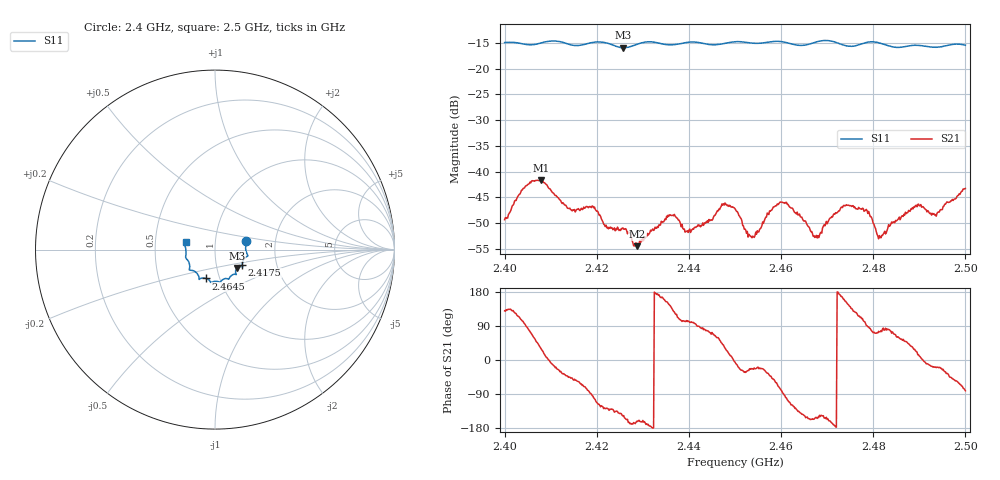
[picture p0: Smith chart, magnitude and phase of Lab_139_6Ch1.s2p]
# Hz S RI R 50
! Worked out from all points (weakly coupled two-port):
!   601 points, 2.4 GHz to 2.5 GHz, reference 50 ohm
!   highest |S21| = -41.69 dB at 2.4078 GHz (marker M1); lowest = -54.5 dB at 2.4288 GHz (marker M2)
!   lowest |S11| = -15.9 dB at 2.4257 GHz (marker M3), VSWR 1.38, Z = 62.5 - j13.1 ohm
!   |S11| at or under -10 dB: start of sweep to end of sweep
!   S12 and S22 are empty: the file has one direction only
!   S11 on the Smith chart (normalised r, x): 2.4 GHz: 1.41, +0.14; 2.4175 GHz: 1.34, -0.23; 2.4645 GHz: 0.86, -0.28; 2.5 GHz: 0.72, +0.06
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2.4e9  0.1729 0.0491  -0.00218 0.00261  0 0  0 0
2.404167e9  0.1722 0.0234  -0.000982 0.00681  0 0  0 0
2.407833e9  0.1766 -0.0193  0.00706 0.00423  0 0  0 0
2.416667e9  0.1529 -0.0739  0.00198 -0.00392  0 0  0 0
2.4175e9  0.1518 -0.0833  0.00143 -0.0042  0 0  0 0
2.425667e9  0.1229 -0.1021  -0.00239 -0.00152  0 0  0 0
2.428833e9  0.1151 -0.13  -0.00179 -0.000567  0 0  0 0
2.433333e9  0.1131 -0.1373  -0.00283 0.000424  0 0  0 0
2.436333e9  0.0919 -0.1442  -0.00268 0.00262  0 0  0 0
2.44e9  0.079 -0.1631  -0.000539 0.00261  0 0  0 0
2.45e9  0.0288 -0.181  0.00434 -0.000413  0 0  0 0
2.453667e9  0.013 -0.1771  0.00208 -0.000907  0 0  0 0
2.459667e9  -0.0236 -0.1828  0.00143 -0.00478  0 0  0 0
2.4645e9  -0.0516 -0.1606  -0.00288 -0.00216  0 0  0 0
2.466667e9  -0.0757 -0.1595  -0.0024 -0.00103  0 0  0 0
2.474167e9  -0.0986 -0.1346  -0.00421 0.00221  0 0  0 0
2.478667e9  -0.1395 -0.1147  -1.23e-05 0.00416  0 0  0 0
2.481333e9  -0.1425 -0.1075  0.000635 0.0023  0 0  0 0
2.483333e9  -0.1408 -0.09  0.000486 0.003  0 0  0 0
2.489333e9  -0.1632 -0.0439  0.00435 0.00179  0 0  0 0
2.493833e9  -0.1618 -0.00415  0.00371 -0.00128  0 0  0 0
2.5e9  -0.1636 0.0435  0.00105 -0.00676  0 0  0 0
